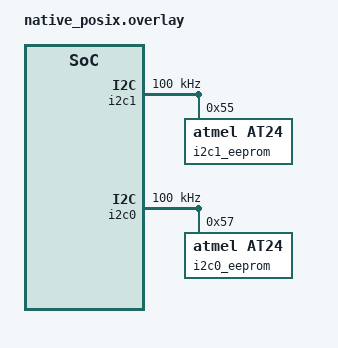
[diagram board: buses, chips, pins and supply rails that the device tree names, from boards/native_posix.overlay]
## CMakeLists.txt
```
# SPDX-License-Identifier: Apache-2.0

cmake_minimum_required(VERSION 3.20.0)
find_package(Zephyr REQUIRED HINTS $ENV{ZEPHYR_BASE})
project(i2c_shell)

FILE(GLOB app_sources src/*.c)
target_sources(app PRIVATE ${app_sources})
```

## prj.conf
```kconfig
CONFIG_I2C=y
CONFIG_I2C_SHELL=y
CONFIG_SHELL=y
CONFIG_SHELL_BACKEND_SERIAL=n
CONFIG_SHELL_BACKEND_DUMMY=y
CONFIG_ZTEST=y
CONFIG_ZTEST_NEW_API=y
```

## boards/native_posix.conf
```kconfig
# Copyright (c) 2022 Google LLC
# SPDX-License-Identifier: Apache-2.0

CONFIG_EMUL=y
CONFIG_I2C=y
CONFIG_EEPROM=y
CONFIG_EEPROM_INIT_PRIORITY=75
CONFIG_EMUL_EEPROM_AT2X=y
```

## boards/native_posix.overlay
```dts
/*
 * Copyright (c) 2022 Google LLC
 *
 * SPDX-License-Identifier: Apache-2.0
 */

/ {
	/* Default native_posix board only contains 1 I2C bus */
 	i2c1: i2c@200 {
		status = "okay";
		compatible = "zephyr,i2c-emul-controller";
		clock-frequency = <I2C_BITRATE_STANDARD>;
		#address-cells = <1>;
		#size-cells = <0>;
		reg = <0x200 4>;
	};
};

&i2c0 {
	clock-frequency = <I2C_BITRATE_STANDARD>;
	i2c0_eeprom: eeprom@57 {
		compatible = "atmel,at24";
		reg = <0x57>;
		size = <256>;
		pagesize = <8>;
		address-width = <8>;
		timeout = <5>;
	};
};

&i2c1 {
	clock-frequency = <I2C_BITRATE_STANDARD>;
	i2c1_eeprom: eeprom@55 {
		compatible = "atmel,at24";
		reg = <0x55>;
		size = <256>;
		pagesize = <8>;
		address-width = <8>;
		timeout = <5>;
	};
};
```

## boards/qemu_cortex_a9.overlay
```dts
/*
 * Copyright (c) 2022 Google LLC
 *
 * SPDX-License-Identifier: Apache-2.0
 */

#include <zephyr/dt-bindings/i2c/i2c.h>

/ {
	/* qemu_cortex_a9 board isn't configured with an I2C node */
 	i2c0: i2c@100 {
		status = "okay";
		compatible = "zephyr,i2c-emul-controller";
		#address-cells = <1>;
		#size-cells = <0>;
		reg = <0x100 4>;
	};
 	i2c1: i2c@200 {
		status = "okay";
		compatible = "zephyr,i2c-emul-controller";
		#address-cells = <1>;
		#size-cells = <0>;
		reg = <0x200 4>;
	};

	/*
	 * This node enables CONFIG_I2C_SHELL_CONTROLLER_LIST.  Only map in
	 * one I2C controller to verify the shell command doesn't allow
	 * scanning of the second controller.
	 */
	i2c-shell {
		compatible = "i2c-shell";
		i2c-controllers = <&i2c0>;
		i2c-controller-names = "I2C_BUS_PRIMARY";
	};
};

&i2c0 {
	clock-frequency = <I2C_BITRATE_STANDARD>;
	i2c0_eeprom: eeprom@57 {
		compatible = "atmel,at24";
		reg = <0x57>;
		size = <256>;
		pagesize = <8>;
		address-width = <8>;
		timeout = <5>;
	};
};

&i2c1 {
	clock-frequency = <I2C_BITRATE_STANDARD>;
	i2c1_eeprom: eeprom@55 {
		compatible = "atmel,at24";
		reg = <0x55>;
		size = <256>;
		pagesize = <8>;
		address-width = <8>;
		timeout = <5>;
	};
};
```

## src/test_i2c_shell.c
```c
/*
 * Copyright (c) 2022 Google LLC
 *
 * SPDX-License-Identifier: Apache-2.0
 */


#include <string.h>

#include <zephyr/drivers/i2c.h>
#include <zephyr/fff.h>
#include <zephyr/shell/shell.h>
#include <zephyr/shell/shell_dummy.h>
#include <zephyr/ztest.h>


ZTEST(i2c_shell, test_i2c_shell_scan_by_nodename)
{
	const struct shell *sh = shell_backend_dummy_get_ptr();
	int err;

	/* Scan bus 0 using the node name */
	err = shell_execute_cmd(sh, "i2c scan i2c@100");
	if (IS_ENABLED(CONFIG_I2C_SHELL_CONTROLLER_LIST)) {
		zassert_not_equal(err, 0, "i2c scan by nodenme succeeded");
	} else {
		zassert_ok(err, "i2c scan by nodename failed");
	}

	/* Scan bus 1 using the node name */
	err = shell_execute_cmd(sh, "i2c scan i2c@200");
	if (IS_ENABLED(CONFIG_I2C_SHELL_CONTROLLER_LIST)) {
		zassert_not_equal(err, 0, "i2c scan by nodenme succeeded");
	} else {
		zassert_ok(err, "i2c scan by nodename failed");
	}
}

ZTEST(i2c_shell, test_i2c_shell_scan_by_friendly_name)
{
	const struct shell *sh = shell_backend_dummy_get_ptr();
	int err;

	/* Scan bus 0 using the friendly name */
	err = shell_execute_cmd(sh, "i2c scan I2C_BUS_PRIMARY");
	if (IS_ENABLED(CONFIG_I2C_SHELL_CONTROLLER_LIST)) {
		zassert_ok(err, "i2c scan by friendly name failed");
	} else {
		zassert_not_equal(err, 0, "i2c scan by friendly name succeeded");
	}

	err = shell_execute_cmd(sh, "i2c scan I2C_BUS_SECONDARY");
	zassert_not_equal(err, 0, "i2c scan of invalid friendly name succeeded");
}

static void *i2c_shell_setup(void)
{
	const struct shell *sh = shell_backend_dummy_get_ptr();

	/* Wait for the initialization of the shell dummy backend. */
	WAIT_FOR(shell_ready(sh), 20000, k_msleep(1));
	zassert_true(shell_ready(sh), "timed out waiting for dummy shell backend");
	return NULL;
}

ZTEST_SUITE(i2c_shell, NULL, i2c_shell_setup, NULL, NULL, NULL);
```
